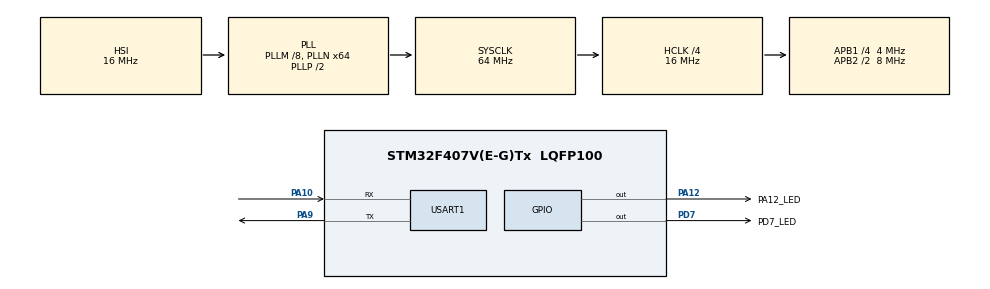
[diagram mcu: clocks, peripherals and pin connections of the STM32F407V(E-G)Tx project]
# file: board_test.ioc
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Mcu.Family=STM32F4
Mcu.Name=STM32F407V(E-G)Tx
Mcu.Package=LQFP100
NVIC.PriorityGroup=NVIC_PRIORITYGROUP_4
NVIC.TIM1_BRK_TIM9_IRQn=true\:0\:0\:false\:false\:true\:true\:true
NVIC.USART1_IRQn=true\:0\:0\:false\:false\:true\:true\:true
PA10.Mode=Asynchronous
PA10.Signal=USART1_RX
PA12.GPIO_Label=PA12_LED
PA12.GPIO_PuPd=GPIO_PULLDOWN
PA12.Signal=GPIO_Output
PA13.Mode=Serial_Wire
PA13.Signal=SYS_JTMS-SWDIO
PA14.Mode=Serial_Wire
PA14.Signal=SYS_JTCK-SWCLK
PA9.Mode=Asynchronous
PA9.Signal=USART1_TX
PD7.GPIO_Label=PD7_LED
PD7.GPIO_PuPd=GPIO_PULLDOWN
PD7.Signal=GPIO_Output
ProjectManager.HeapSize=0x200
ProjectManager.StackSize=0x400
ProjectManager.TargetToolchain=Makefile
RCC.48MHZClocksFreq_Value=32000000
RCC.AHBCLKDivider=RCC_SYSCLK_DIV4
RCC.AHBFreq_Value=16000000
RCC.APB1CLKDivider=RCC_HCLK_DIV4
RCC.APB1Freq_Value=4000000
RCC.APB1TimFreq_Value=8000000
RCC.APB2CLKDivider=RCC_HCLK_DIV2
RCC.APB2Freq_Value=8000000
RCC.APB2TimFreq_Value=16000000
RCC.CortexFreq_Value=16000000
RCC.HCLKFreq_Value=16000000
RCC.HSE_VALUE=25000000
RCC.HSI_VALUE=16000000
RCC.LSE_VALUE=32768
RCC.PLLM=8
RCC.PLLN=64
RCC.SYSCLKFreq_VALUE=64000000
RCC.SYSCLKSource=RCC_SYSCLKSOURCE_PLLCLK
RCC.VCOOutputFreq_Value=128000000
TIM1.Period=4999
TIM1.Prescaler=1599
USART1.VirtualMode=VM_ASYNC
VP_TIM1_VS_ClockSourceINT.Mode=Internal
board=custom

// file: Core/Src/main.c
/* USER CODE BEGIN Header */
/**
  ******************************************************************************
  * @file           : main.c
  * @brief          : Main program body
  ******************************************************************************
  * @attention
  *
  * Copyright (c) 2022 STMicroelectronics.
  * All rights reserved.
  *
  * This software is licensed under terms that can be found in the LICENSE file
  * in the root directory of this software component.
  * If no LICENSE file comes with this software, it is provided AS-IS.
  *
  ******************************************************************************
  */
/* USER CODE END Header */
#include "main.h"
#include "tim.h"
#include "usart.h"
#include "gpio.h"

/* USER CODE BEGIN Includes */
#include <stdarg.h>
/* USER CODE END Includes */

void SystemClock_Config(void);

/* USER CODE BEGIN 0 */
char SCIx_RxChar(void)
{
	volatile UART_HandleTypeDef *USARTx = &huart1;

    while((USARTx->Instance->SR & UART_FLAG_RXNE) == RESET);   //wait for Rx Not Empty flag
    return (uint16_t)(USARTx->Instance->DR & (uint16_t)0x01FF); //read from DR register
}

void SCIx_TxChar(char Data)
{
	volatile UART_HandleTypeDef *USARTx = &huart1;

    USARTx->Instance->DR = (Data & (uint16_t)0x01FF);         //write to DR register
    while((USARTx->Instance->SR & UART_FLAG_TXE) == RESET);  //wait for Tx Empty flag
}

void SCIx_TxString(char *Str)
{
    while(*Str)
    {
        if(*Str == '\n'){
            SCIx_TxChar('\r');
        }

        SCIx_TxChar( *Str++ );
    }
}

void TxPrintf(char *Form, ... )
{
	static char Buff[128];
	va_list ArgPtr;
	va_start(ArgPtr,Form);
	vsprintf(Buff, Form, ArgPtr);
    va_end(ArgPtr);
    SCIx_TxString(Buff);
}
/* USER CODE END 0 */

int main(void)
{

  /* MCU Configuration--------------------------------------------------------*/

  /* Reset of all peripherals, Initializes the Flash interface and the Systick. */
  HAL_Init();

  /* Configure the system clock */
  SystemClock_Config();

  /* Initialize all configured peripherals */
  MX_GPIO_Init();
  MX_TIM1_Init();
  MX_USART1_UART_Init();
  /* USER CODE BEGIN 2 */

  HAL_TIM_Base_Start_IT(&htim1);

  /* USER CODE END 2 */

  /* Infinite loop */
  /* USER CODE BEGIN WHILE */

  while (1)
  {

	  //HAL_GPIO_TogglePin(PA12_LED_GPIO_Port, PA12_LED_Pin);
	  //HAL_Delay(1000);
	  //HAL_GPIO_TogglePin(PD7_LED_GPIO_Port, PD7_LED_Pin);
	 TxPrintf("HELLO\n");
	 HAL_Delay(1000);

    /* USER CODE END WHILE */

  }
}

void SystemClock_Config(void)
{
  RCC_OscInitTypeDef RCC_OscInitStruct = {0};
  RCC_ClkInitTypeDef RCC_ClkInitStruct = {0};

  /** Configure the main internal regulator output voltage
  */
  __HAL_RCC_PWR_CLK_ENABLE();
  __HAL_PWR_VOLTAGESCALING_CONFIG(PWR_REGULATOR_VOLTAGE_SCALE1);
  /** Initializes the RCC Oscillators according to the specified parameters
  * in the RCC_OscInitTypeDef structure.
  */
  RCC_OscInitStruct.OscillatorType = RCC_OSCILLATORTYPE_HSI;
  RCC_OscInitStruct.HSIState = RCC_HSI_ON;
  RCC_OscInitStruct.HSICalibrationValue = RCC_HSICALIBRATION_DEFAULT;
  RCC_OscInitStruct.PLL.PLLState = RCC_PLL_ON;
  RCC_OscInitStruct.PLL.PLLSource = RCC_PLLSOURCE_HSI;
  RCC_OscInitStruct.PLL.PLLM = 8;
  RCC_OscInitStruct.PLL.PLLN = 64;
  RCC_OscInitStruct.PLL.PLLP = RCC_PLLP_DIV2;
  RCC_OscInitStruct.PLL.PLLQ = 4;
  if (HAL_RCC_OscConfig(&RCC_OscInitStruct) != HAL_OK)
  {
    Error_Handler();
  }
  /** Initializes the CPU, AHB and APB buses clocks
  */
  RCC_ClkInitStruct.ClockType = RCC_CLOCKTYPE_HCLK|RCC_CLOCKTYPE_SYSCLK
                              |RCC_CLOCKTYPE_PCLK1|RCC_CLOCKTYPE_PCLK2;
  RCC_ClkInitStruct.SYSCLKSource = RCC_SYSCLKSOURCE_PLLCLK;
  RCC_ClkInitStruct.AHBCLKDivider = RCC_SYSCLK_DIV4;
  RCC_ClkInitStruct.APB1CLKDivider = RCC_HCLK_DIV4;
  RCC_ClkInitStruct.APB2CLKDivider = RCC_HCLK_DIV2;

  if (HAL_RCC_ClockConfig(&RCC_ClkInitStruct, FLASH_LATENCY_0) != HAL_OK)
  {
    Error_Handler();
  }
}

void Error_Handler(void)
{
  __disable_irq();
  while (1)
  {
  }
}
